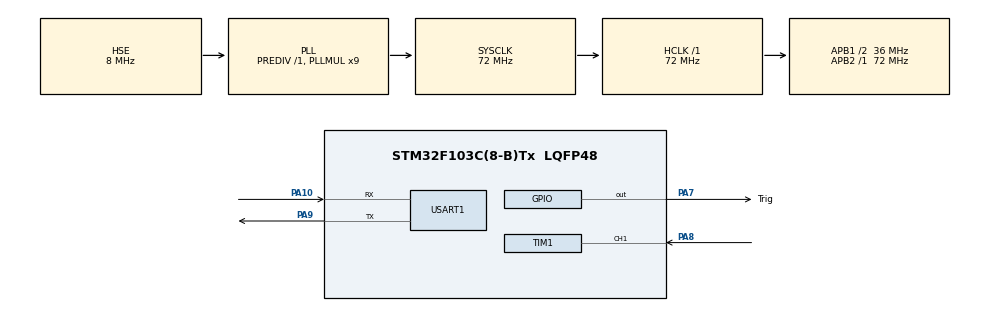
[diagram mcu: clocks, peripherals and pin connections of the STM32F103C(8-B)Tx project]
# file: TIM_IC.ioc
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Mcu.Family=STM32F1
Mcu.Name=STM32F103C(8-B)Tx
Mcu.Package=LQFP48
NVIC.PriorityGroup=NVIC_PRIORITYGROUP_4
NVIC.TIM1_CC_IRQn=true\:0\:0\:false\:false\:true\:true\:true\:true
NVIC.TIM1_UP_IRQn=true\:0\:0\:false\:false\:true\:true\:true\:true
NVIC.USART1_IRQn=true\:10\:0\:true\:false\:true\:true\:true\:true
PA10.Mode=Asynchronous
PA10.Signal=USART1_RX
PA13.Mode=Serial_Wire
PA13.Signal=SYS_JTMS-SWDIO
PA14.Mode=Serial_Wire
PA14.Signal=SYS_JTCK-SWCLK
PA7.GPIO_Label=Trig
PA7.GPIO_Speed=GPIO_SPEED_FREQ_HIGH
PA7.Signal=GPIO_Output
PA8.Signal=S_TIM1_CH1
PA9.Mode=Asynchronous
PA9.Signal=USART1_TX
PD0-OSC_IN.Mode=HSE-External-Oscillator
PD0-OSC_IN.Signal=RCC_OSC_IN
PD1-OSC_OUT.Mode=HSE-External-Oscillator
PD1-OSC_OUT.Signal=RCC_OSC_OUT
ProjectManager.HeapSize=0x200
ProjectManager.StackSize=0x400
ProjectManager.TargetToolchain=CMake
RCC.AHBFreq_Value=72000000
RCC.APB1CLKDivider=RCC_HCLK_DIV2
RCC.APB1Freq_Value=36000000
RCC.APB1TimFreq_Value=72000000
RCC.APB2Freq_Value=72000000
RCC.APB2TimFreq_Value=72000000
RCC.HCLKFreq_Value=72000000
RCC.PLLMUL=RCC_PLL_MUL9
RCC.PLLSourceVirtual=RCC_PLLSOURCE_HSE
RCC.SYSCLKFreq_VALUE=72000000
RCC.SYSCLKSource=RCC_SYSCLKSOURCE_PLLCLK
RCC.USBFreq_Value=72000000
SH.S_TIM1_CH1.0=TIM1_CH1,Input_Capture1_from_TI1
TIM1.Channel-Input_Capture1_from_TI1=TIM_CHANNEL_1
TIM1.Channel-Input_Capture2_from_TI1_63=TIM_CHANNEL_2
TIM1.ICFilter_CH1=15
TIM1.ICPolarity_CH2=TIM_INPUTCHANNELPOLARITY_FALLING
TIM1.Prescaler=72-1
USART1.VirtualMode=VM_ASYNC
VP_TIM1_VS_ClockSourceINT.Mode=Internal
VP_TIM1_VS_indirect_ch1.Mode=Input_Capture2_from_TI1_63
board=custom

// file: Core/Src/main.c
/* USER CODE BEGIN Header */
/**
  ******************************************************************************
  * @file           : main.c
  * @brief          : Main program body
  ******************************************************************************
  * @attention
  *
  * Copyright (c) 2026 STMicroelectronics.
  * All rights reserved.
  *
  * This software is licensed under terms that can be found in the LICENSE file
  * in the root directory of this software component.
  * If no LICENSE file comes with this software, it is provided AS-IS.
  *
  ******************************************************************************
  */
/* USER CODE END Header */
#include "main.h"
#include "tim.h"
#include "usart.h"
#include "gpio.h"

/* USER CODE BEGIN Includes */
#include "stdio.h"
/* USER CODE END Includes */

void SystemClock_Config(void);

/* USER CODE BEGIN 0 */
  int upedge = 0;
  int downedge = 0;
  float distance = 0;
  void HAL_TIM_IC_CaptureCallback(TIM_HandleTypeDef *htim)
  {
    if(htim->Channel == HAL_TIM_ACTIVE_CHANNEL_2)
    {
      upedge = HAL_TIM_ReadCapturedValue(htim, TIM_CHANNEL_1);
      downedge = HAL_TIM_ReadCapturedValue(htim, TIM_CHANNEL_2);
      distance = (downedge - upedge) * 0.034 / 2;

    }
  }
/* USER CODE END 0 */

int main(void)
{

  /* MCU Configuration--------------------------------------------------------*/

  /* Reset of all peripherals, Initializes the Flash interface and the Systick. */
  HAL_Init();

  /* Configure the system clock */
  SystemClock_Config();

  /* Initialize all configured peripherals */
  MX_GPIO_Init();
  MX_TIM1_Init();
  MX_USART1_UART_Init();
  /* USER CODE BEGIN 2 */
  HAL_TIM_Base_Start(&htim1);
  HAL_TIM_IC_Start(&htim1, TIM_CHANNEL_1);
  HAL_TIM_IC_Start_IT(&htim1, TIM_CHANNEL_2);
  /* USER CODE END 2 */

  /* Infinite loop */
  /* USER CODE BEGIN WHILE */
  while (1)
  {
    HAL_GPIO_WritePin(Trig_GPIO_Port, Trig_Pin , GPIO_PIN_SET);
    HAL_Delay(1);
    HAL_GPIO_WritePin(Trig_GPIO_Port, Trig_Pin , GPIO_PIN_RESET);
    __HAL_TIM_SET_COUNTER(&htim1,0);
    HAL_Delay(20);
     printf("Distance: %.2f cm\r\n", distance);
    HAL_Delay(500);

    /* USER CODE END WHILE */

  }
}

void SystemClock_Config(void)
{
  RCC_OscInitTypeDef RCC_OscInitStruct = {0};
  RCC_ClkInitTypeDef RCC_ClkInitStruct = {0};

  /** Initializes the RCC Oscillators according to the specified parameters
  * in the RCC_OscInitTypeDef structure.
  */
  RCC_OscInitStruct.OscillatorType = RCC_OSCILLATORTYPE_HSE;
  RCC_OscInitStruct.HSEState = RCC_HSE_ON;
  RCC_OscInitStruct.HSEPredivValue = RCC_HSE_PREDIV_DIV1;
  RCC_OscInitStruct.HSIState = RCC_HSI_ON;
  RCC_OscInitStruct.PLL.PLLState = RCC_PLL_ON;
  RCC_OscInitStruct.PLL.PLLSource = RCC_PLLSOURCE_HSE;
  RCC_OscInitStruct.PLL.PLLMUL = RCC_PLL_MUL9;
  if (HAL_RCC_OscConfig(&RCC_OscInitStruct) != HAL_OK)
  {
    Error_Handler();
  }

  /** Initializes the CPU, AHB and APB buses clocks
  */
  RCC_ClkInitStruct.ClockType = RCC_CLOCKTYPE_HCLK|RCC_CLOCKTYPE_SYSCLK
                              |RCC_CLOCKTYPE_PCLK1|RCC_CLOCKTYPE_PCLK2;
  RCC_ClkInitStruct.SYSCLKSource = RCC_SYSCLKSOURCE_PLLCLK;
  RCC_ClkInitStruct.AHBCLKDivider = RCC_SYSCLK_DIV1;
  RCC_ClkInitStruct.APB1CLKDivider = RCC_HCLK_DIV2;
  RCC_ClkInitStruct.APB2CLKDivider = RCC_HCLK_DIV1;

  if (HAL_RCC_ClockConfig(&RCC_ClkInitStruct, FLASH_LATENCY_2) != HAL_OK)
  {
    Error_Handler();
  }
}

void Error_Handler(void)
{
  __disable_irq();
  while (1)
  {
  }
}
